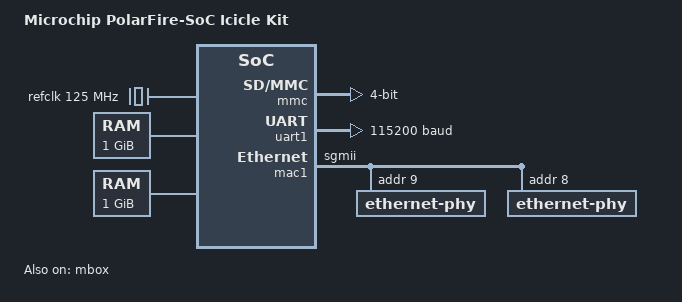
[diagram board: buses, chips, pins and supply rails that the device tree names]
/dts-v1/;

/ {
	#address-cells = <2>;
	#size-cells = <2>;
	model = "Microchip PolarFire-SoC Icicle Kit";
	compatible = "microchip,mpfs-icicle-reference-rtlv2507", "microchip,mpfs-icicle-kit", "microchip,mpfs";

	cpus {
		#address-cells = <1>;
		#size-cells = <0>;
		timebase-frequency = <1000000>;

		cpu1: cpu@1 {
			compatible = "sifive,u54-mc", "sifive,rocket0", "riscv";
			device_type = "cpu";
			mmu-type = "riscv,sv39";
			reg = <1>;
			riscv,isa = "rv64imafdc";
			riscv,isa-base = "rv64i";
			riscv,isa-extensions = "i\0m\0a\0f\0d\0c\0zicntr\0zicsr\0zifencei\0zihpm";
			clocks = <&clkcfg 0x00>;
			status = "okay";

			cpu1_intc: interrupt-controller {
				#interrupt-cells = <0x01>;
				#address-cells = <1>;
				#size-cells = <0>;
				compatible = "riscv,cpu-intc";
				interrupt-controller;
			};
		};
	};

	refclk: mssrefclk {
		compatible = "fixed-clock";
		#clock-cells = <0>;
		clock-frequency = <125000000>;
	};

	soc {
		#address-cells = <2>;
		#size-cells = <2>;
		compatible = "simple-bus";
		ranges;

		clint@2000000 {
			compatible = "sifive,clint0";
			reg = <0x00 0x2000000 0x0 0xC000>;
			interrupts-extended = <&cpu1_intc 0x03 &cpu1_intc 0x07>;
		};

		clkcfg: clkcfg@20002000 {
			compatible = "microchip,mpfs-clkcfg";
			reg = <0x00 0x20002000 0x00 0x1000 0x00 0x3e001000 0x00 0x1000>;
			clocks = <&refclk>;
			#clock-cells = <0x01>;
			#reset-cells = <0x01>;
			phandle = <0x01>;
		};

		plic: interrupt-controller@c000000 {
			compatible = "sifive,plic-1.0.0";
			reg = <0x0 0xc000000>, <0x0 0x4000000>;
			#interrupt-cells = <1>;
			#address-cells = <2>;
			riscv,ndev = <186>;
			interrupt-controller;
			interrupts-extended = <&cpu1_intc 11 &cpu1_intc 9>;
		};

		mmc: mmc@20008000 {
			compatible = "microchip,mpfs-sd4hc","cdns,sd4hc";
			reg = <0x0 0x20008000 0x0 0x1000>;
			interrupt-parent = <&plic>;
			interrupts = <0x58>;
			clocks = <&clkcfg 0x06>;
			bus-width = <0x04>;
			disable-wp;
			cap-sd-highspeed;
			cap-mmc-highspeed;
			mmc-ddr-1_8v;
			mmc-hs200-1_8v;
			sd-uhs-sdr12;
			sd-uhs-sdr25;
			sd-uhs-sdr50;
			sd-uhs-sdr104;
		};

		uart1: serial@20100000 {
			compatible = "ns16550a";
			reg = <0x0 0x20100000 0x0 0x400>;
			reg-io-width = <4>;
			reg-shift = <2>;
			interrupt-parent = <&plic>;
			interrupts = <91>;
			current-speed = <115200>;
			clocks = <&clkcfg 9>;
			status = "okay";
		};

		mac1: ethernet@20112000 {
			compatible = "microchip,mpfs-macb", "cdns,macb";
			reg = <0x00 0x20112000>, <0x00 0x2000>;
			#address-cells = <0x01>;
			#size-cells = <0x00>;
			interrupt-parent = <&plic>;
			interrupts = <0x46 0x47 0x48 0x49 0x4a 0x4b>;
			local-mac-address = [00 00 00 00 00 00];
			clocks = <&clkcfg 0x05>, <&clkcfg 0x02>;
			clock-names = "pclk", "hclk";
			status = "okay";
			phy-mode = "sgmii";
			phy-handle = <0x07>;
			ethernet-phy@9 {
				reg = <0x09>;
				phandle = <0x07>;
			};
			ethernet-phy@8 {
				reg = <0x08>;
			};
		};

		mbox: mailbox@37020000 {
			compatible = "microchip,mpfs-mailbox";
			reg = <0x00 0x37020000 0x00 0x58>, <0x00 0x2000318c 0x00 0x40>, <0x00 0x37020800 0x00 0x100>;
			interrupt-parent = <&plic>;
			interrupts = <0x60>;
			#mbox-cells = <1>;
			status = "okay";
		};

		syscontroller: syscontroller {
			compatible = "microchip,mpfs-sys-controller", "simple-bus";
			#address-cells = <1>;
			#size-cells = <1>;
			mboxes = <&mbox 0>;
			status = "okay";
		};
	};

	aliases {
		ethernet0 = "/soc/ethernet@20112000";
		serial1 = "/soc/serial@20100000";
	};

	chosen {
		stdout-path = "serial1:115200n8";
	};

	memory@80000000 {
		device_type = "memory";
		reg = <0x0 0x80000000>, <0x0 0x40000000>;
		status = "okay";
	};

	memory@1040000000 {
		device_type = "memory";
		reg = <0x10 0x40000000>, <0x00 0x40000000>;
		status = "okay";
	};

	reserved-memory {
		#address-cells = <2>;
		#size-cells = <2>;
		ranges;

		region@BFC00000 {
			reg = <0x00 0xbfc00000 0x00 0x400000>;
			no-map;
		};
	};
};
